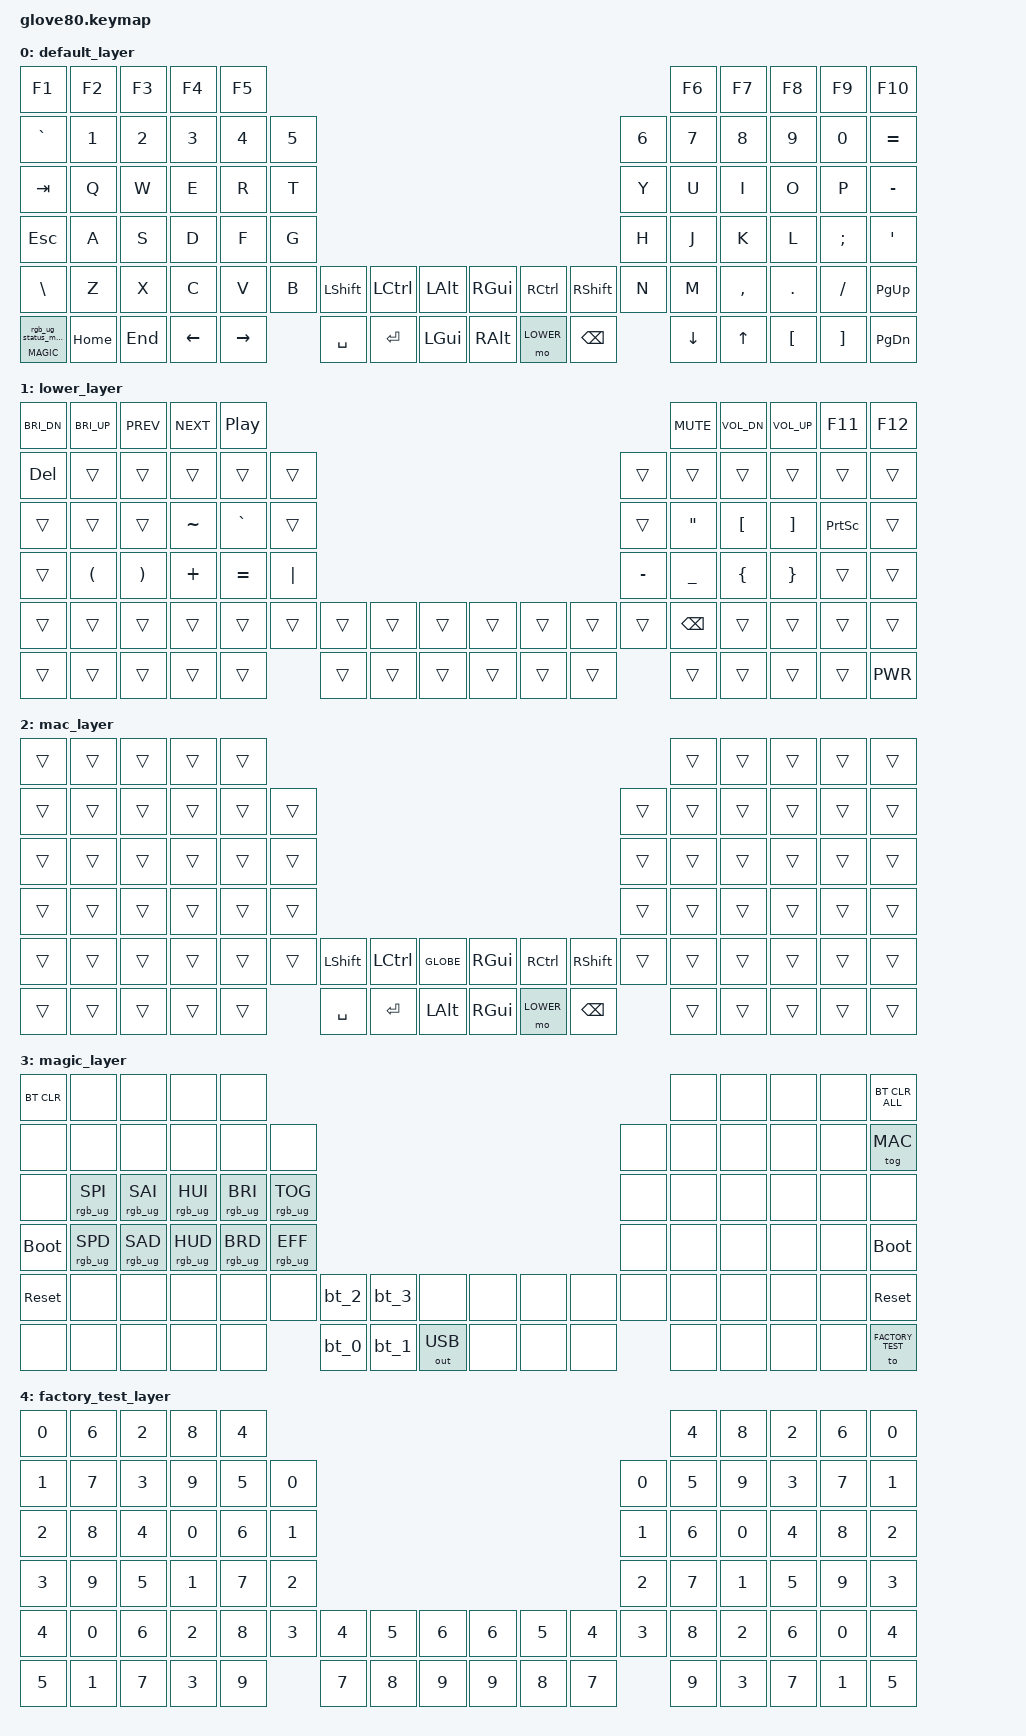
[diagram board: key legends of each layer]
/*
 * Copyright (c) 2020 The ZMK Contributors
 *
 * SPDX-License-Identifier: MIT
 */

#include <behaviors.dtsi>
#include <dt-bindings/zmk/keys.h>
#include <dt-bindings/zmk/bt.h>
#include <dt-bindings/zmk/ext_power.h>
#include <dt-bindings/zmk/outputs.h>
#include <dt-bindings/zmk/rgb.h>

#define HYPER LC(LS(LG(LALT)))

// layers
#define DEFAULT 0
#define LOWER 1
#define MAC 2
#define MAGIC 3
#define FACTORY_TEST 4

/ {
    behaviors {
        to_lower: to_lower {
            compatible = "zmk,behavior-to";
            label = "TO_LOWER";
            #binding-cells = <1>;
        };

        magic: magic_hold_tap {
            compatible = "zmk,behavior-hold-tap";
            label = "MAGIC_HOLD_TAP";
            #binding-cells = <2>;
            flavor = "tap-preferred";
            tapping-term-ms = <200>;
            bindings = <&mo>, <&rgb_ug_status_macro>;
        };
    };

    macros {
        rgb_ug_status_macro: rgb_ug_status_macro_0 {
            label = "RGB_UG_STATUS";
            compatible = "zmk,behavior-macro";
            #binding-cells = <0>;
            bindings
                = <&rgb_ug RGB_STATUS>;
        };

        bt_0: bt_profile_macro_0 {
            label = "BT_0";
            compatible = "zmk,behavior-macro";
            #binding-cells = <0>;
            bindings
                = <&out OUT_BLE>,
                  <&bt BT_SEL 0>;
        };

        bt_1: bt_profile_macro_1 {
            label = "BT_1";
            compatible = "zmk,behavior-macro";
            #binding-cells = <0>;
            bindings
                = <&out OUT_BLE>,
                  <&bt BT_SEL 1>;
        };

        bt_2: bt_profile_macro_2 {
            label = "BT_2";
            compatible = "zmk,behavior-macro";
            #binding-cells = <0>;
            bindings
                = <&out OUT_BLE>,
                  <&bt BT_SEL 2>;
        };

        bt_3: bt_profile_macro_3 {
            label = "BT_3";
            compatible = "zmk,behavior-macro";
            #binding-cells = <0>;
            bindings
                = <&out OUT_BLE>,
                  <&bt BT_SEL 3>;
        };
    };

    keymap {
        compatible = "zmk,keymap";

        default_layer {
            bindings = <
              &kp F1         &kp F2     &kp F3      &kp F4      &kp F5                                                                                                        &kp F6    &kp F7      &kp F8      &kp F9      &kp F10
              &kp GRAVE      &kp N1     &kp N2      &kp N3      &kp N4      &kp N5                                                                                   &kp N6   &kp N7    &kp N8      &kp N9      &kp N0      &kp EQUAL
              &kp TAB        &kp Q      &kp W       &kp E       &kp R       &kp T                                                                                    &kp Y    &kp U     &kp I       &kp O       &kp P       &kp MINUS
              &kp ESC        &kp A      &kp S       &kp D       &kp F       &kp G                                                                                    &kp H    &kp J     &kp K       &kp L       &kp SEMI    &kp SQT
              &kp BSLH       &kp Z      &kp X       &kp C       &kp V       &kp B  &kp LSHFT    &kp LCTRL   &kp LALT         &kp RGUI     &kp RCTRL    &kp RSHFT     &kp N    &kp M     &kp COMMA   &kp DOT     &kp FSLH    &kp PG_UP
              &magic MAGIC 0 &kp HOME   &kp END     &kp LEFT    &kp RIGHT          &kp SPACE    &kp RET     &kp LGUI         &kp RALT     &mo LOWER    &kp BSPC               &kp DOWN  &kp UP      &kp LBKT    &kp RBKT    &kp PG_DN
            >;
        };

        lower_layer {
            bindings = <
              &kp C_BRI_DN  &kp C_BRI_UP   &kp C_PREV    &kp C_NEXT  &kp C_PP                                                                                 &kp C_MUTE  &kp C_VOL_DN  &kp C_VOL_UP   &kp F11     &kp F12
              &kp DEL       &trans         &trans        &trans      &trans     &trans                                                            &trans      &trans      &trans        &trans         &trans      &trans
              &trans        &trans         &trans        &kp TILDE   &kp GRAVE  &trans                                                            &trans      &kp DQT     &kp LBKT      &kp RBKT       &kp PSCRN   &trans
              &trans        &kp LPAR       &kp RPAR      &kp PLUS    &kp EQUAL  &kp PIPE                                                          &kp MINUS   &kp UNDER   &kp LBRC      &kp RBRC       &trans      &trans
              &trans        &trans         &trans        &trans      &trans     &trans     &trans   &trans  &trans      &trans  &trans  &trans    &trans      &kp BSPC    &trans        &trans         &trans      &trans
              &trans        &trans         &trans        &trans      &trans                &trans   &trans  &trans      &trans  &trans  &trans                &trans      &trans        &trans         &trans      &kp K_PWR
            >;
        };


        // MAC layer (index 2): macOS modifier layout.
        // Left pinky cluster:  Shift, Ctrl, Globe
        // Left thumb:          Space, Enter, Option (where Cmd was)
        // Right pinky cluster: Cmd, Ctrl, Shift
        // Right thumb:         Cmd (where Alt was), Lower, Backspace
        // Toggle with &tog MAC from the MAGIC layer.
        mac_layer {
            bindings = <
              &trans         &trans     &trans      &trans      &trans                                                                                                        &trans    &trans      &trans      &trans      &trans
              &trans         &trans     &trans      &trans      &trans      &trans                                                                                   &trans   &trans    &trans      &trans      &trans      &trans
              &trans         &trans     &trans      &trans      &trans      &trans                                                                                   &trans   &trans    &trans      &trans      &trans      &trans
              &trans         &trans     &trans      &trans      &trans      &trans                                                                                   &trans   &trans    &trans      &trans      &trans      &trans
              &trans         &trans     &trans      &trans      &trans      &trans  &kp LSHFT    &kp LCTRL   &kp GLOBE        &kp RGUI     &kp RCTRL    &kp RSHFT     &trans   &trans    &trans      &trans      &trans      &trans
              &trans         &trans     &trans      &trans      &trans              &kp SPACE    &kp RET     &kp LALT         &kp RGUI     &mo LOWER    &kp BSPC               &trans    &trans      &trans      &trans      &trans
            >;
        };

        magic_layer {
            bindings = <
              &bt BT_CLR        &none               &none           &none           &none                                                                                                           &none      &none      &none      &none      &bt BT_CLR_ALL
              &none             &none               &none           &none           &none           &none                                                                                &none      &none      &none      &none      &none      &tog MAC
              &none             &rgb_ug RGB_SPI     &rgb_ug RGB_SAI &rgb_ug RGB_HUI &rgb_ug RGB_BRI &rgb_ug RGB_TOG                                                                      &none      &none      &none      &none      &none      &none
              &bootloader       &rgb_ug RGB_SPD     &rgb_ug RGB_SAD &rgb_ug RGB_HUD &rgb_ug RGB_BRD &rgb_ug RGB_EFF                                                                      &none      &none      &none      &none      &none      &bootloader
              &sys_reset        &none               &none           &none           &none           &none           &bt_2     &bt_3     &none            &none     &none     &none       &none      &none      &none      &none      &none      &sys_reset
              &none             &none               &none           &none           &none                           &bt_0     &bt_1     &out OUT_USB     &none     &none     &none                  &none      &none      &none      &none      &to FACTORY_TEST
            >;
        };

        factory_test_layer {
            bindings = <
            &kp N0   &kp N6   &kp N2   &kp N8   &kp N4                                                                              &kp N4   &kp N8   &kp N2   &kp N6   &kp N0
            &kp N1   &kp N7   &kp N3   &kp N9   &kp N5   &kp N0                                                            &kp N0   &kp N5   &kp N9   &kp N3   &kp N7   &kp N1
            &kp N2   &kp N8   &kp N4   &kp N0   &kp N6   &kp N1                                                            &kp N1   &kp N6   &kp N0   &kp N4   &kp N8   &kp N2
            &kp N3   &kp N9   &kp N5   &kp N1   &kp N7   &kp N2                                                            &kp N2   &kp N7   &kp N1   &kp N5   &kp N9   &kp N3
            &kp N4   &kp N0   &kp N6   &kp N2   &kp N8   &kp N3   &kp N4   &kp N5   &kp N6      &kp N6   &kp N5   &kp N4   &kp N3   &kp N8   &kp N2   &kp N6   &kp N0   &kp N4
            &kp N5   &kp N1   &kp N7   &kp N3   &kp N9            &kp N7   &kp N8   &kp N9      &kp N9   &kp N8   &kp N7            &kp N9   &kp N3   &kp N7   &kp N1   &kp N5
            >;
        };
    };
};
